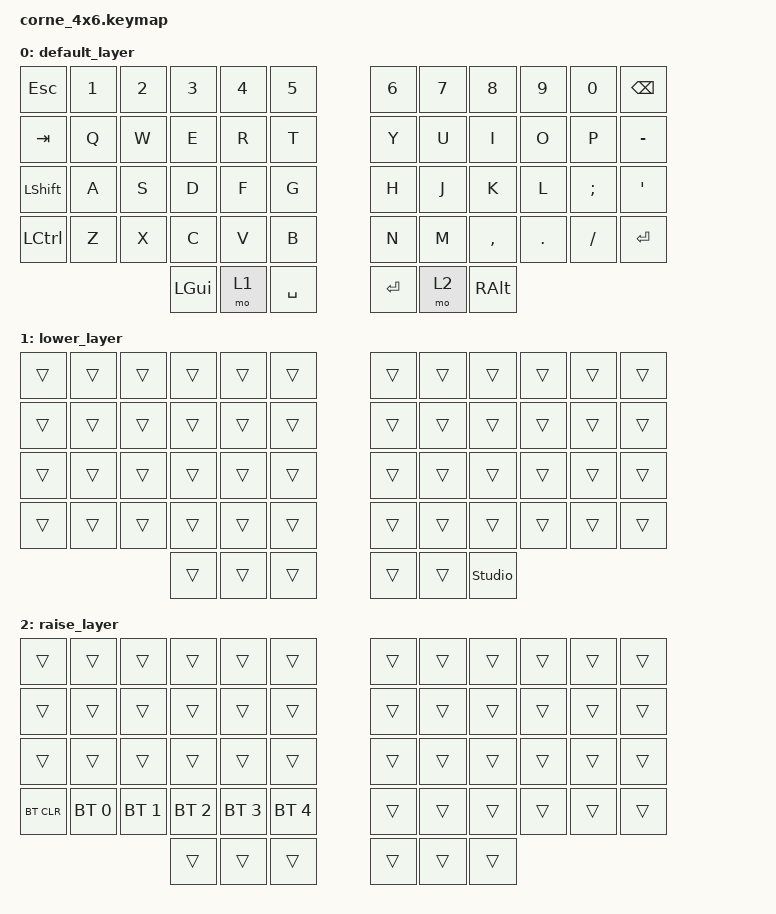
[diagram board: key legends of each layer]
#include <behaviors.dtsi>
#include <dt-bindings/zmk/keys.h>
#include <dt-bindings/zmk/bt.h>

/ {
    keymap {
        compatible = "zmk,keymap";

        default_layer {
            // Layer 0
            bindings = <
                &kp ESC   &kp N1 &kp N2 &kp N3 &kp N4 &kp N5      &kp N6 &kp N7 &kp N8 &kp N9 &kp N0 &kp BSPC
                &kp TAB   &kp Q  &kp W  &kp E  &kp R  &kp T       &kp Y  &kp U  &kp I  &kp O  &kp P  &kp MINUS
                &kp LSHFT &kp A  &kp S  &kp D  &kp F  &kp G       &kp H  &kp J  &kp K  &kp L  &kp SEMI &kp SQT
                &kp LCTRL &kp Z  &kp X  &kp C  &kp V  &kp B       &kp N  &kp M  &kp COMMA &kp DOT &kp FSLH &kp RET
                                        &kp LGUI &mo 1 &kp SPACE  &kp RET &mo 2 &kp RALT
            >;
        };

        lower_layer {
            // Layer 1 (Hold left center thumb to access)
            bindings = <
                &trans &trans &trans &trans &trans &trans      &trans &trans &trans &trans &trans &trans
                &trans &trans &trans &trans &trans &trans      &trans &trans &trans &trans &trans &trans
                &trans &trans &trans &trans &trans &trans      &trans &trans &trans &trans &trans &trans
                &trans &trans &trans &trans &trans &trans      &trans &trans &trans &trans &trans &trans
                                     &trans &trans &trans      &trans &trans &studio_unlock
            >;
        };

        raise_layer {
            // Layer 2 (Hold right center thumb to access)
            bindings = <
                &trans &trans &trans &trans &trans &trans      &trans &trans &trans &trans &trans &trans
                &trans &trans &trans &trans &trans &trans      &trans &trans &trans &trans &trans &trans
                &trans &trans &trans &trans &trans &trans      &trans &trans &trans &trans &trans &trans
                &bt BT_CLR &bt BT_SEL 0 &bt BT_SEL 1 &bt BT_SEL 2 &bt BT_SEL 3 &bt BT_SEL 4   &trans &trans &trans &trans &trans &trans
                                     &trans &trans &trans      &trans &trans &trans
            >;
        };
    };
};
